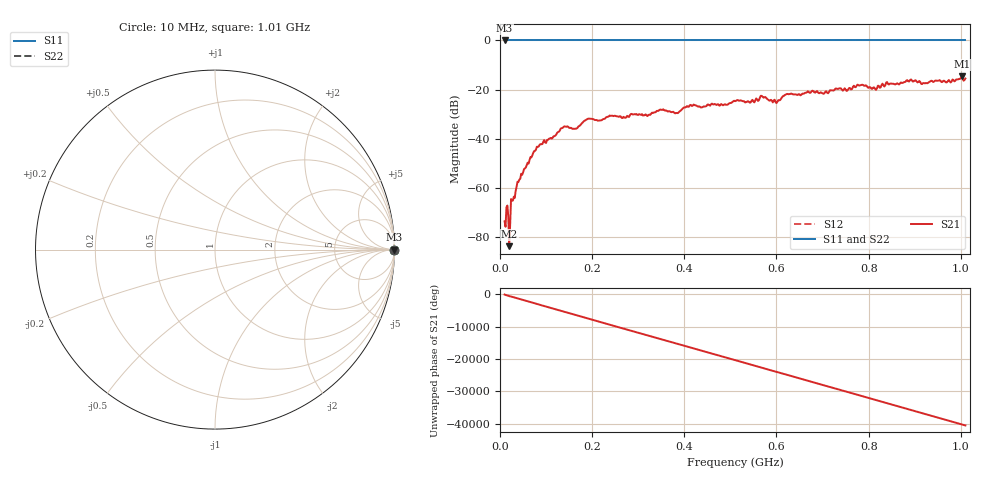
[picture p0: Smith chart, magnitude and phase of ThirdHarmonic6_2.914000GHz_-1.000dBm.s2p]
! 8/17/2025 8:05:28 AM
! C:\ANRITSUVNA\TEMP\TEMP.S2P
! CHANNEL.1
! TR.MEASUREMENT
! RAW.DATA
! RF.CORRECTION.OFF
! AVERAGING.OFF
! IF.BANDWIDTH: 5KHZ
! SWEEPTYPE:  FREQ.SWEEP(Linear)
! Reference Plane Port Info
! PORT:  PORT1  PORT2
! DISTANCE:  0  m  0  m
! TIME:  0  s  0  s
! PHASE.OFFSET:  0  deg.  0  deg.
! LOSS:  0  dB  0  dB
! REF.LOSS:  0  dB  0  dB
! REF.FREQ:  0  Hz  0  Hz
! Power Info
! POWER:  -20  dBm  -20  dBm
! EFF.POWER:  -20  dBm  -20  dBm
! SOURCE.ATTEN:  0  dB  0  dB
! TEST.ATTEN:  0  dB  0  dB
# GHZ S RI R 50.0
! FREQ.GHZ  S11RE  S11IM  S21RE  S21IM  S12RE  S12IM  S22RE  S22IM
!; PortSelection: Port_12
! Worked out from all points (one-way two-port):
!   501 points, 10 MHz to 1.01 GHz, reference 50 ohm
!   highest |S21| = -14.66 dB at 1.002 GHz (marker M1); lowest = -83.7 dB at 20 MHz (marker M2)
!   lowest |S11| = 0.0 dB at 10 MHz (marker M3)
!   |S11| at or under -10 dB: nowhere
!   |S22| runs from 0.0 to 0.0 dB; largest |S21 - S12| = 1.2
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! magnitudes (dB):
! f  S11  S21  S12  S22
! 10 MHz  0.0  -73.6  0.0  0.0
! 20 MHz  0.0  -83.7  0.0  0.0
! 24 MHz  0.0  -64.5  0.0  0.0
! 28 MHz  0.0  -65.1  0.0  0.0
! 42 MHz  0.0  -56.7  0.0  0.0
! 78 MHz  0.0  -44.5  0.0  0.0
! 136 MHz  0.0  -35.6  0.0  0.0
! 162 MHz  0.0  -36.0  0.0  0.0
! 178 MHz  0.0  -33.6  0.0  0.0
! 344 MHz  0.0  -28.6  0.0  0.0
! 384 MHz  0.0  -29.5  0.0  0.0
! 416 MHz  0.0  -26.7  0.0  0.0
! 510 MHz  0.0  -24.7  0.0  0.0
! 570 MHz  0.0  -22.9  0.0  0.0
! 602 MHz  0.0  -25.0  0.0  0.0
! 622 MHz  0.0  -21.8  0.0  0.0
! 678 MHz  0.0  -20.4  0.0  0.0
! 780 MHz  0.0  -18.4  0.0  0.0
! 814 MHz  0.0  -19.7  0.0  0.0
! 844 MHz  0.0  -17.9  0.0  0.0
! 1.002 GHz  0.0  -14.7  0.0  0.0
! 1.01 GHz  0.0  -15.5  0.0  0.0
